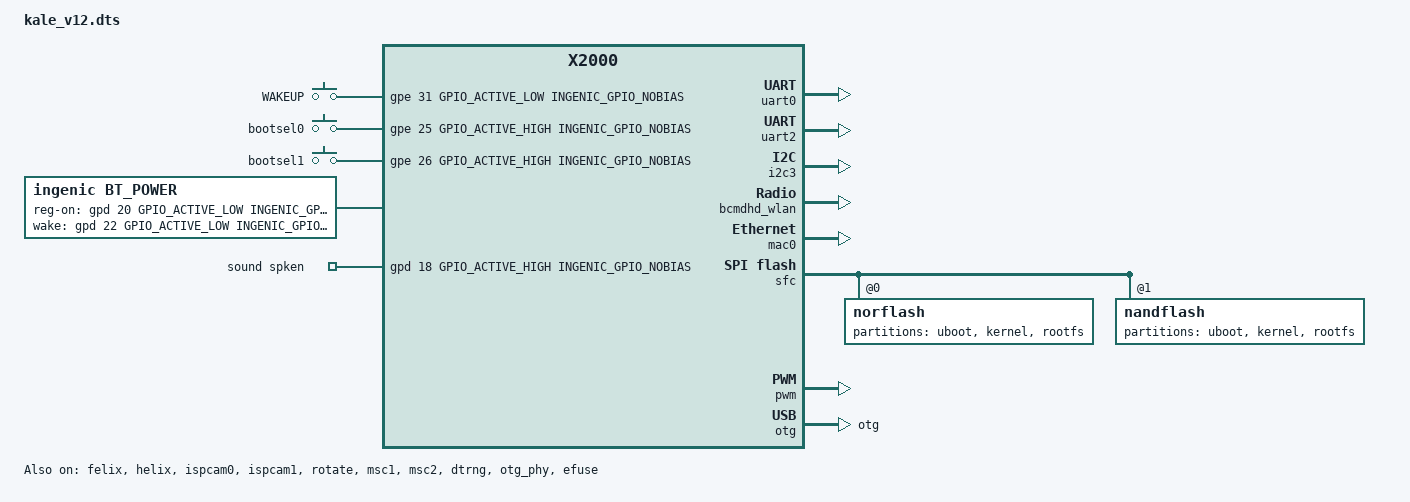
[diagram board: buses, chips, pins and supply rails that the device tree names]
/dts-v1/;

#include <dt-bindings/input/input.h>
#include "x2000.dtsi"
#include <dt-bindings/interrupt-controller/irq.h>
#include <generated/autoconf.h>

#include "halley5_cameras/RD_X2000_HALLEY5_CAMERA_4V3_2KALE.dtsi"

/ {
	compatible = "ingenic,kale", "ingenic,x2000";
	/*chosen {
		bootargs = "console=ttyS1,115200 mem=128M@0x0ip=off init=/linuxrc ubi.mtd=3 root=ubi0:rootfs ubi.mtd=4 rootfstype=ubifs rw";
	};*/

	reserved-memory {
		#address-cells = <1>;
		#size-cells = <1>;
		ranges =<>;

		reserved_memory: reserved_mem@0x3000000{
		      compatible = "shared-dma-pool";
		      reg = <0x03000000 0x1000000>;
		};
	};
};

&uart0 {
	status = "okay";
	pinctrl-names = "default";
	pinctrl-0 = <&uart0_pd>;
};

&uart2 {
	status = "okay";
	pinctrl-names = "default";
	pinctrl-0 = <&uart2_pd>;
};

&uart3 {
	status = "disable";
	pinctrl-names = "default";
	pinctrl-0 = <&uart3_pc>;
};

&cpufreq {
	status = "okay";
	operating-points = <
		/*KHZ uV */
		1200000	900000
		750000	900000
		600000	900000
		500000	900000
		400000	900000
		375000	900000
		300000	900000
		200000	900000
			>;

};

&pinctrl {
	ingenic,gpa_voltage = <GPIO_VOLTAGE_1V8>;
};

&i2c3 {
	status = "okay";
};
&i2c4 {
	status = "disable";
};

&felix {
	status = "okay";
	memory-region=<&reserved_memory>;
};

&helix {
	status = "okay";
	memory-region=<&reserved_memory>;
};

&ispcam0 {
	status = "okay";
	memory-region=<&reserved_memory>;
};

&ispcam1 {
	status = "okay";
	memory-region=<&reserved_memory>;
};

&rotate {
	status = "okay";
	memory-region=<&reserved_memory>;
};

&pdma {
	status = "okay";
};

&msc0 {
	status = "disable";
};

&msc1 {
	status = "okay";
	pinctrl-names ="default","enable", "disable";
	pinctrl-0 = <&msc1_4bit>;
	pinctrl-1 = <&rtc32k_enable>;
	pinctrl-2 = <&rtc32k_disable>;

	sd-uhs-sdr25;
	cap-sd-highspeed;
	max-frequency = <100000000>;
	bus-width = <4>;
	voltage-ranges = <1800 3300>;
	non-removable;
	keep-power-in-suspend;
	ingenic,sdio_clk = <1>;
	/* special property */
	ingenic,sdr-gpios = <0>;
	ingenic,rst-gpios = <0>;
	ingenic,removal-manual; /*removal-dontcare, removal-nonremovable, removal-removable, removal-manual*/

	bcmdhd_wlan: bcmdhd_wlan {
		 compatible = "android,bcmdhd_wlan";
		 ingenic,sdio-irq = <&gpd 0 IRQ_TYPE_LEVEL_HIGH INGENIC_GPIO_NOBIAS>;
		 ingenic,sdio-reset = <&gpd 1 GPIO_ACTIVE_LOW INGENIC_GPIO_NOBIAS>;
	};
};

&msc2 {
	status = "okay";
	pinctrl-names ="default";
	pinctrl-0 = <&msc2_4bit>;
	mmc-hs200-1_8v;
	cap-mmc-highspeed;
	non-removable;
	max-frequency = <200000000>;
	bus-width = <4>;
	non-removable;
	voltage-ranges = <1800 3300>;

	/* special property */
	ingenic,rst-gpios = <0>;
	ingenic,sdr-gpios = <&gpc 0 GPIO_ACTIVE_HIGH INGENIC_GPIO_NOBIAS>;
};


&mac0 {
        pinctrl-names = "default", "reset";
        pinctrl-0 = <&mac0_rmii_p0_normal>, <&mac0_rmii_p1_normal>,<&mac0_phy_clk>;
        pinctrl-1 = <&mac0_rmii_p0_rst>, <&mac0_rmii_p1_normal>,<&mac0_phy_clk>;
        status = "okay";
        ingenic,rst-gpio = <&gpc 5 GPIO_ACTIVE_LOW INGENIC_GPIO_NOBIAS>;
        ingenic,rst-ms = <10>;
	ingenic,rst-delay-ms = <15>;
        ingenic,mac-mode = <RMII>;
        ingenic,mode-reg = <0xb00000e4>;
        ingenic,phy-clk-freq = <50000000>;
};

&sfc {
	status = "okay";
	pinctrl-names = "default";
	pinctrl-0 = <&sfc_pe>;
	ingenic,sfc-init-frequency = <200000000>;
	ingenic,sfc-max-frequency = <400000000>;
	ingenic,use_ofpart_info  = /bits/ 8 <0>;
	ingenic,spiflash_param_offset = <0>;

	norflash@0 {
		partitions {
			compatible = "fixed-partitions";
			#address-cells = <1>;
			#size-cells = <1>;

			/* spi nor flash partition */
			uboot@0 {
				label = "uboot";
				reg = <0x0000000 0x40000>;
				/*read-only;*/
			};

			kernel@40000 {
				label = "kernel";
				reg = <0x40000 0x300000>;
			};

			rootfs@360000 {
				label = "rootfs";
				reg = <0x360000 0xca0000>;
			};
		};
	};

	nandflash@1 {
		partitions {
			compatible = "fixed-partitions";
			#address-cells = <1>;
			#size-cells = <1>;

			/* spi nand flash partition */
			partition@0 {
				label = "uboot";
				reg = <0x0000000 0x100000>;
				/*read-only;*/
			};

			partition@100000 {
				label = "kernel";
				reg = <0x100000 0x800000>;
			};

			partition@900000 {
				label = "rootfs";
				reg = <0x900000 0xf700000>;
			};
		};
	};

};

&spi0 {
	status = "disable";
	pinctrl-names = "default";
	pinctrl-0 = <&spi0_pb>;

	spi-max-frequency = <54000000>;
	num-cs = <2>;
	cs-gpios = <0>, <0>;
	/*cs-gpios = <&gpa 27 GPIO_ACTIVE_HIGH INGENIC_GPIO_NOBIAS>, <&gpa 27 GPIO_ACTIVE_HIGH INGENIC_GPIO_NOBIAS>;*/
	ingenic,chnl = <0>;
	ingenic,allow_cs_same = <1>;
	ingenic,bus_num = <0>;
	ingenic,has_dma_support = <0>;
	ingenic,spi-src-clk = <1>;/*0.ext; 1.ssi*/

	/* Add SPI interface device */
	spidev: spidev@0 {
		compatible = "rohm,dh2228fv";
		reg = <0>;
		spi-max-frequency = <10000000>;
	};
};

&dtrng {
	status = "okay";
};

&pwm {
	pinctrl-names = "default";
/*	pinctrl-0 = <&pwm0_pd>; */
/*	pinctrl-0 = <&pwm1_pc>; */
	pinctrl-0 = <&pwm14_pc>;
	status = "okay";
};

&otg {
	dr_mode = "otg";
	device-using-dma = <1>;
	status = "okay";
};

&otg_phy {
	status = "okay";
	ingenic,vbus-dete-gpio = <&gpd 17 GPIO_ACTIVE_LOW INGENIC_GPIO_NOBIAS>;
};

&as_be_baic {
	pinctrl-names = "default";
	pinctrl-0 =  <&baic4_pd>;
};

&as_dmic {
	pinctrl-names = "default";
	pinctrl-0 = <&dmic_pc_4ch>;
};

&icodec {
	ingenic,spken-gpio = <&gpd 18 GPIO_ACTIVE_HIGH INGENIC_GPIO_NOBIAS>;
};

&efuse {
	status = "okay";
	ingenic,efuse-en-gpio = <&gpd 19 GPIO_ACTIVE_LOW INGENIC_GPIO_NOBIAS>;
};


/ {

	extclk: extclk {
		clock-frequency = <24000000>;
	};

	gpio_keys: gpio_keys {
		   compatible = "gpio-keys";

		   wakeup {
			   label = "WAKEUP";
			   linux,code = <KEY_WAKEUP>;
			   gpios = <&gpe 31 GPIO_ACTIVE_LOW INGENIC_GPIO_NOBIAS>;
			   gpio-key,wakeup;
		   };

		   bootsel0 {
			   label = "bootsel0";
			   linux,code = <KEY_HOME>;
			   gpios = <&gpe 25 GPIO_ACTIVE_HIGH INGENIC_GPIO_NOBIAS>;
		   };

		   bootsel1 {
			   label = "bootsel1";
			   linux,code = <KEY_BACK>;
			   gpios = <&gpe 26 GPIO_ACTIVE_HIGH INGENIC_GPIO_NOBIAS>;
		   };
	   };

	/*
	 * gpd 21 bt wakeup host
	 * gpd 22 host wakeup bt
	 */
	bt_power {
		compatible = "ingenic,bt_power";
		ingenic,reg-on-gpio = <&gpd 20 GPIO_ACTIVE_LOW INGENIC_GPIO_NOBIAS>;
		ingenic,wake-gpio = <&gpd 22 GPIO_ACTIVE_LOW INGENIC_GPIO_NOBIAS>;
	};

	sound {
		compatible = "ingenic,x2000-sound";
		ingenic,model = "kale_v10";
		ingenic,spken-gpio = <&gpd 18 GPIO_ACTIVE_HIGH INGENIC_GPIO_NOBIAS>;
	};

	spi_gpio {
		status = "disable";
		compatible = "spi-gpio";
		#address-cells = <1>;
		#size-cells = <0>;

		gpio-sck = <&gpb 28 GPIO_ACTIVE_LOW INGENIC_GPIO_NOBIAS>;
		gpio-miso = <&gpb 29 GPIO_ACTIVE_LOW INGENIC_GPIO_NOBIAS>;
		gpio-mosi = <&gpb 30 GPIO_ACTIVE_LOW INGENIC_GPIO_NOBIAS>;
		cs-gpios = <&gpb 31 GPIO_ACTIVE_LOW INGENIC_GPIO_NOBIAS>;
		num-chipselects = <1>;

		/* clients */
		spidev1: spidev1@0 {
			status = "disable";
			compatible = "rohm,dh2228fv";
			reg = <0>;
			spi-max-frequency = <500000>;
		};
	};
#ifdef CONFIG_LINUX_PMEM
	linux_pmem {
		status = "ok";
		compatible = "linux_pmem";
		linux_pmem,name = "pmem";
		linux_pmem,no_allocator = <0>;
		linux_pmem,cached       = <1>;
		linux_pmem,start        = <0>;
		linux_pmem,size         = CONFIG_PMEM_RESERVE_SIZE;
    };
#endif
};


/* Board Sleep GPIO configuration. */
/* <0 1 2 3 .... 31>, set one of the pin to state.*/
&gpa {
	ingenic,gpio-sleep-pullup 	= <>;
	ingenic,gpio-sleep-pulldown 	= <>;
	ingenic,gpio-sleep-hiz		= <>;
	ingenic,gpio-sleep-low		= <>;
	ingenic,gpio-sleep-high		= <>;
};

&gpb {
	ingenic,gpio-sleep-pullup 	= <>;
	ingenic,gpio-sleep-pulldown 	= <>;
	ingenic,gpio-sleep-hiz		= <>;
	ingenic,gpio-sleep-low		= <>;
	ingenic,gpio-sleep-high		= <>;
};

&gpc {
	ingenic,gpio-sleep-pullup 	= <>;
	ingenic,gpio-sleep-pulldown 	= <>;
	ingenic,gpio-sleep-hiz		= <>;
	ingenic,gpio-sleep-low		= <>;
	ingenic,gpio-sleep-high		= <>;
};

&gpd {
	ingenic,gpio-sleep-pullup 	= <>;
	ingenic,gpio-sleep-pulldown 	= <>;
	ingenic,gpio-sleep-hiz		= <>;
	ingenic,gpio-sleep-low		= <>;
	ingenic,gpio-sleep-high		= <>;
};

#ifdef CONFIG_STAGE_ZC50289HSHD02
#include "kale_lcd/HALLEY5_MIPI_LCD_ZC50289HSHD02.dtsi"
#endif
